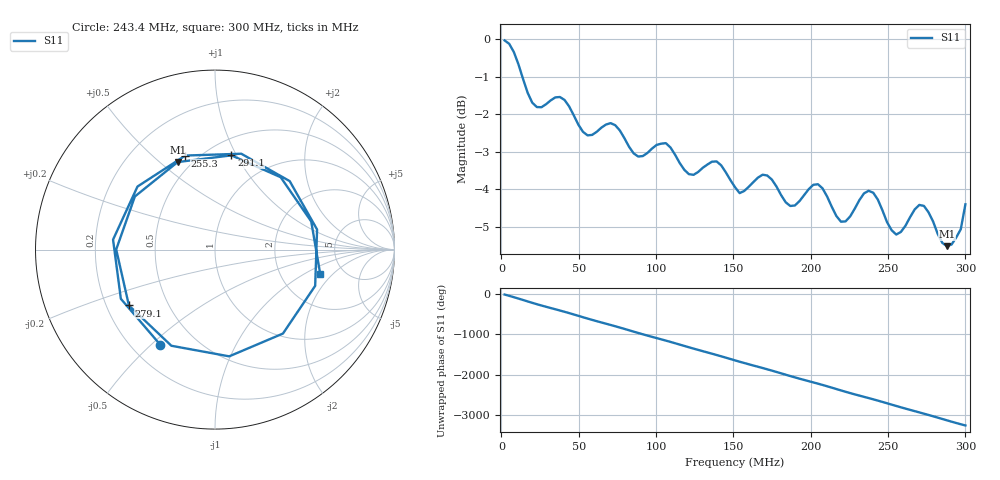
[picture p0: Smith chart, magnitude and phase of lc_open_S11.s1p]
# Hz S RI R 50
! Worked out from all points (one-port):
!   101 points, 2.05 MHz to 300 MHz, reference 50 ohm
!   lowest |S11| = -5.5 dB at 288.1 MHz (marker M1), VSWR 3.26, Z = 21.2 + j28.7 ohm
!   |S11| at or under -10 dB: nowhere
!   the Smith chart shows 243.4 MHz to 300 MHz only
!   S11 on the Smith chart (normalised r, x): 243.4 MHz: 0.32, -0.53; 255.3 MHz: 0.43, +0.64; 279.1 MHz: 0.29, -0.27; 291.1 MHz: 0.65, +0.95; 300 MHz: 3.35, -1.46
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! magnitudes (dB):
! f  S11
! 2.05 MHz  0.0
! 8.009 MHz  -0.3
! 19.93 MHz  -1.7
! 40.78 MHz  -1.6
! 55.68 MHz  -2.6
! 70.58 MHz  -2.2
! 76.54 MHz  -2.4
! 88.46 MHz  -3.1
! 106.3 MHz  -2.8
! 115.3 MHz  -3.3
! 124.2 MHz  -3.6
! 139.1 MHz  -3.3
! 151 MHz  -3.9
! 171.9 MHz  -3.6
! 189.8 MHz  -4.4
! 204.7 MHz  -3.9
! 219.6 MHz  -4.9
! 225.5 MHz  -4.7
! 234.5 MHz  -4.1
! 243.4 MHz  -4.3
! 255.3 MHz  -5.2
! 264.2 MHz  -4.7
! 270.2 MHz  -4.4
! 279.1 MHz  -4.9
! 288.1 MHz  -5.5
! 291.1 MHz  -5.5
! 297 MHz  -5.1
! 300 MHz  -4.4
